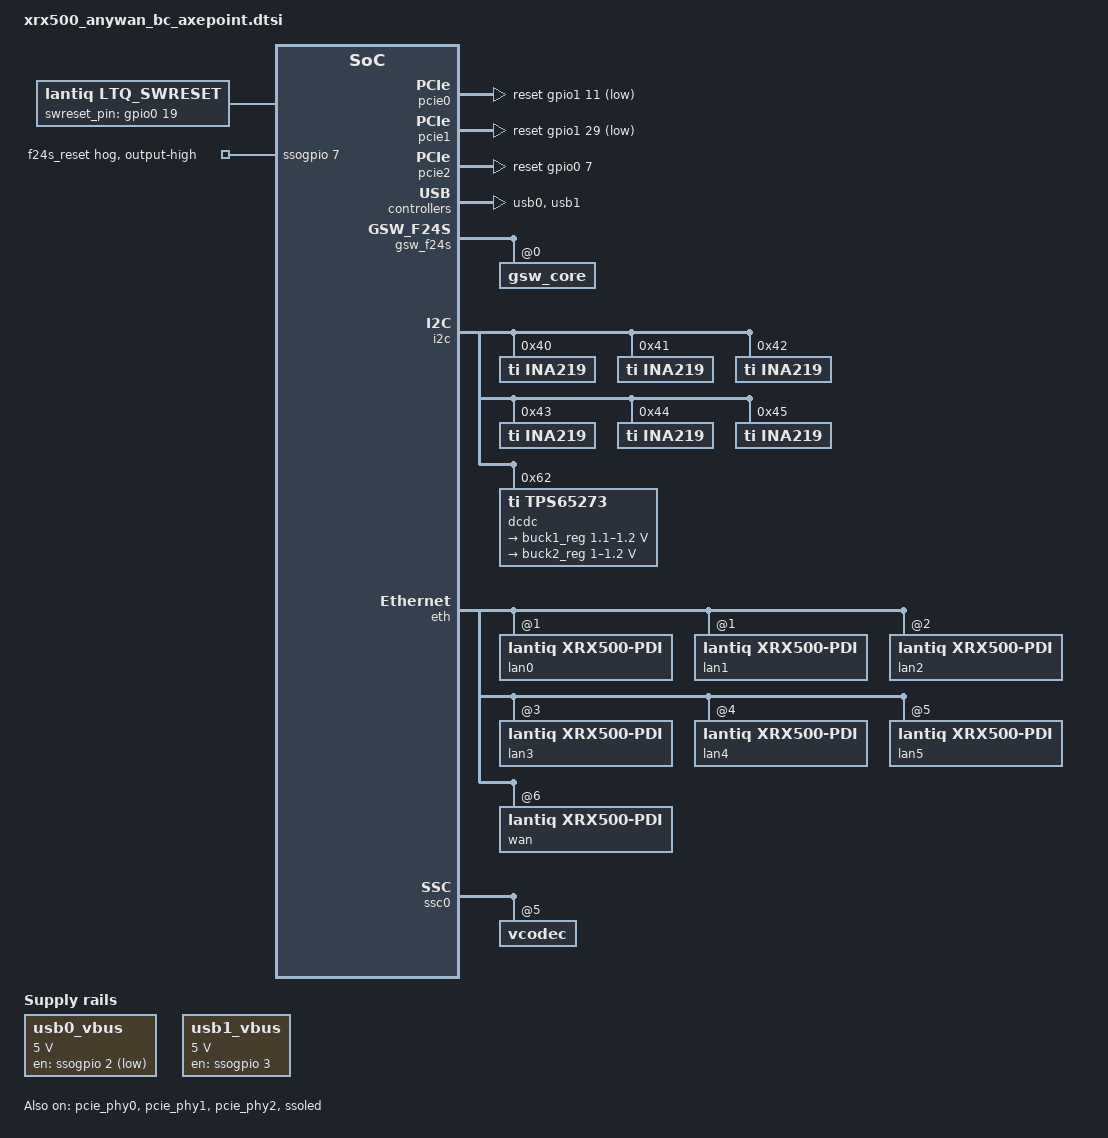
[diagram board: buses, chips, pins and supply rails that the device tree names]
#include <dt-bindings/gpio/gpio.h>
/******************************************************************************
** Board configuration: xRX500 ANYWAN Board
******************************************************************************/
/ {

/******************************************************************************
** Board configuration: Enable buttons on the board.  
******************************************************************************/
	ltq_swreset {
	      compatible = "lantiq,ltq_swreset";
	      swreset_pin = <&gpio0 19 0>;
	      swreset_bit = <1>;
	      status = "ok";
	};
/*****************************************************************************/
};

/******************************************************************************
** Board configuration: Enable spi0 configuration.
******************************************************************************/

/******************************************************************************
** PCIe PHY board configuration
******************************************************************************/
&pcie_phy0 {
	status = "ok";
	intel,ssc_enable = <1>;
};

&pcie_phy1 {
	status = "ok";
	intel,ssc_enable = <1>;
};

&pcie_phy2 {
	status = "ok";
	intel,ssc_enable = <1>;
};

/******************************************************************************
** Board configuration: Enable PCIe board configuration.
** PCIE sub-system feature configuration, the pcie0/1/2 are defined in Soc level  
******************************************************************************/
&pcie0 {
	status = "ok";
	intel,rst-high-active = <0>; /* 0 - low activ, 1 -- high active */
	intel,rst-interval = <200>; /* in mili-seconds, up to 500 ms*/
	intel,inbound-swap = <1>; /* 0 -- no swap, 1 -- swap */
	intel,outbound-swap = <0>; /* 0 -- no swap, 1 -- swap */
	intel,phy-mode = <5>; /* 0 -36Mhz, 1 - 36MHzSSC, 2 - 25Mhz, 3 - 25MHzSSC, 4 - 100MHz, 5 - 100MHz SSC */
	reset-gpios = <&gpio1 11 GPIO_ACTIVE_LOW>; // default value , it can be updated on board. 
};

&pcie1 {
	status = "ok";
	intel,rst-high-active = <0>; /* 0 - low activ, 1 -- high active */
	intel,rst-interval = <200>; /* in mili-seconds, up to 500 ms*/
	intel,inbound-swap = <1>; /* 0 -- no swap, 1 -- swap */
	intel,outbound-swap = <0>; /* 0 -- no swap, 1 -- swap */
	intel,phy-mode = <5>; /* 0 -36Mhz, 1 - 36MHzSSC, 2 - 25Mhz, 3 - 25MHzSSC, 4 - 100MHz, 5 - 100MHz SSC */
	reset-gpios = <&gpio1 29 GPIO_ACTIVE_LOW>;// default value , it can be updated on board. 
};

&pcie2 {
	status = "ok";
	intel,rst-high-active = <1>; /* 0 - low activ, 1 -- high active */
	intel,rst-interval = <200>; /* in mili-seconds, up to 500 ms*/
	intel,inbound-swap = <1>; /* 0 -- no swap, 1 -- swap */
	intel,outbound-swap = <0>; /* 0 -- no swap, 1 -- swap */
	intel,phy-mode = <5>; /* 0 -36Mhz, 1 - 36MHzSSC, 2 - 25Mhz, 3 - 25MHzSSC, 4 - 100MHz, 5 - 100MHz SSC */
	reset-gpios = <&gpio0 7 GPIO_ACTIVE_HIGH>;// default value , it can be updated on board. 
};

/******************************************************************************
** Board configuration: Enable USB board configuration.  
******************************************************************************/
/********** 
AxePoint use SSO GPIO as vbus power control , the USB A use sso gpio pin2 ,default shall be pulled low.
and USB C use sso gpio pin3 , default shall be pulled high.
 **********/
/ {
	usb0_vbus:regulator-vbus@0 {
		compatible = "regulator-fixed";
		regulator-name = "usb0_vbus";
		regulator-min-microvolt = <5000000>;
		regulator-max-microvolt = <5000000>;
		gpio = <&ssogpio 2 0>;
		enable-active-low;
	};

	usb1_vbus:regulator-vbus@1 {
		compatible = "regulator-fixed";
		regulator-name = "usb1_vbus";
		regulator-min-microvolt = <5000000>;
		regulator-max-microvolt = <5000000>;
		gpio = <&ssogpio 3 0>;
		enable-active-high;
	};
};

&pinctrl_usb0_default {
	intel,pins = <10>;
};

&pinctrl_usb0_idle {
	intel,pins = <10>;
};

&pinctrl_usb1_default {
	intel,pins = <11>;
};

&pinctrl_usb1_idle {
	intel,pins = <11>;
};

&usb0_phy {
	vbus-supply = <&usb0_vbus>;
};

&usb0 {
	status = "ok";
};

&usb1_phy {
	vbus-supply = <&usb1_vbus>;
};

&usb1 {
	status = "ok";
};

/******************************************************************************
 ** Board configuration: The Configuration of the external F24S switch for Port Tunk and SFP support
 ******************************************************************************/

&gsw_f24s {
	status = "okay";
	gsw_core@0 {
		intel,syscon = <&sysconf>;
	};
};

/******************************************************************************
 ** Board configuration: Enable pinctrl board configuration.
 ******************************************************************************/
&pinctrl {
	pinctrl_spi0_cs1: spi0_cs1 {
		intel,pins =  <15>; /* SPI0_CS1 */
		intel,function = "spi0_cs1";
		intel,mux = <EQBR_MUX_1>;
		intel,groups = "spi0_cs1";
	};

	pinctrl_spi1_cs0: spi1_cs0 {
		intel,pins =  <14>; /* SPI1_CS0 */
		intel,function = "spi1_cs0";
		intel,mux = <EQBR_MUX_2>;
		intel,groups = "spi1_cs0";
	};
};
/******************************************************************************
** Board configuration: pin  number definition.  
******************************************************************************/

&pinctrl_reserved {
	intel,pins =  <24>, /* nand cle */ <13>, /*nand ale */
		<49>, /* nand rd */ <48>, /* nand rdy> */
		<51>, /* nand d0 */ <50>, /* nand d1> */
		<52>, /* nand d2 */ <57>, /* nand d3> */
		<56>, /* nand d4 */ <55>, /* nand d5> */
		<54>, /* nand d6 */ <53>, /* nand d7> */
		<23>, /* nand cs1 */ <59>, /* nand wr> */
		<60> /* nand wp */;
};


/******************************************************************************
** Board configuration: Enable Shift register LED board configuration.  
******************************************************************************/

&ssogpio {
	status = "okay";
	ngpios = <24>;
	intel,sso-update-rate = <250000>;

	f24s_rst {
		gpio-hog;
		gpios = <7 GPIO_ACTIVE_HIGH>;
		output-high;
		line-name = "f24s_reset";
	};
};

&ssoled {
	status = "okay";
	/* led definition */

	intel,sso-def-brightness = <0x80>;
	intel,sso-def-blinkrate = <4>; /* HZ*/
	/* blink rate list: 2, 4, 8, 10, 50K, 100K, 200K, 250K, 1000K */ 
	led0: led0 {
		label = "led0:green:gphy";
		led-gpio = <&ssogpio 0 0>;
		intel,led-pin = <0>;
	};

	led1: led1 {
		label = "led1:green:gphy";
		led-gpio = <&ssogpio 1 0>;
		intel,led-pin = <1>;
	};

	led4: led4 {
		label = "led4:green:gphy";
		led-gpio = <&ssogpio 4 0>;
		intel,led-pin = <4>;
	};

	led5: led5 {
		label = "led5:green:dect";
		led-gpio = <&ssogpio 5 0>;
		intel,led-pin = <5>;
	};

	led6: led6 {
		label = "led6:green:wifi5g";
		led-gpio = <&ssogpio 6 0>;
		intel,led-pin = <6>;
	};

	led8: led8 {
		label = "led8:green:voip0";
		led-gpio = <&ssogpio 8 0>;
		intel,led-pin = <8>;
	};

	led9: led9 {
		label = "led9:green:lte";
		led-gpio = <&ssogpio 9 0>;
		intel,led-pin = <9>;
	};

	led10: led10 {
		label = "led10:green:wifi2g";
		led-gpio = <&ssogpio 10 0>;
		intel,led-pin = <10>;
	};

	led11: led11 {
		label = "led11:green:Internet";
		led-gpio = <&ssogpio 11 0>;
		intel,led-pin = <11>;
	};

	wifi_disable_0: wifi_disable_0 {
		label = "wifi0:green";
		led-gpio = <&ssogpio 12 0>;
		intel,led-pin = <12>;
		intel,sso-brightness = <0x00>;
	};

	led13: led13 {
		label = "led13:red:power";
		led-gpio = <&ssogpio 13 0>;
		intel,led-pin = <13>;
		intel,sso-brightness = <0x00>;
	};

	led14: led14 {
		label = "led14:blue:power";
		led-gpio = <&ssogpio 14 0>;
		intel,led-pin = <14>;
		intel,sso-brightness = <0x00>;
	};

	led15: led15 {
		label = "led15:green:power";
		led-gpio = <&ssogpio 15 0>;
		intel,led-pin = <15>;
		intel,sso-brightness = <0x00>;
	};

	wifi_disable_1: wifi_disable_1 {
		label = "wifi1:green";
		led-gpio = <&ssogpio 16 0>;
		intel,led-pin = <16>;
		intel,sso-brightness = <0x00>;
	};

	wifi_disable_2: wifi_disable_2 {
		label = "wifi2:green";
		led-gpio = <&ssogpio 17 0>;
		intel,led-pin = <17>;
		intel,sso-brightness = <0x00>;
	};

	led18: led18 {
		label = "led18:green:24g_act_led";
		led-gpio = <&ssogpio 18 0>;
		intel,led-pin = <18>;
		intel,sso-brightness = <0x0>;
	};

	led19: led19 {
		label = "led19:green:5gl_led";
		led-gpio = <&ssogpio 19 0>;
		intel,led-pin = <19>;
		intel,sso-brightness = <0x0>;
	};

	led20: led20 {
		label = "led20:green:5gh_led";
		led-gpio = <&ssogpio 20 0>;
		intel,led-pin = <20>;
		intel,sso-brightness = <0x0>;
	};

	led21: led21 {
		label = "led21:green:lan_act_led";
		led-gpio = <&ssogpio 21 0>;
		intel,led-pin = <21>;
		intel,sso-brightness = <0x0>;
	};

	led22: led22 {
		label = "led22:green:wan_status_led";
		led-gpio = <&ssogpio 22 0>;
		intel,led-pin = <22>;
		intel,sso-brightness = <0x0>;
	};
	
	led23: led23 {
		label = "led23:green:power_led";
		led-gpio = <&ssogpio 23 0>;
		intel,led-pin = <23>;
		linux,default-trigger = "timer";
		intel,sso-brightness = <0x255>;
	};
};

/******************************************************************************
** Board configuration: Enable CoC power managment board feature  
******************************************************************************/
&pinctrl_i2c0 {
			status="ok";
};

&cpu0 {
	cpu-supply = <&buck1_reg>;
};

&i2c {
	status = "ok";
	ina219@40 {
		compatible = "ti,ina219";
		reg = <0x40>;
		shunt-resistor = <10000>;
		config = <0x01FF>;
		calibration = <0x0F80>;
		rail-name = "PWR_12V";
		};

	ina219@41 {
		compatible = "ti,ina219";
		reg = <0x41>;
		shunt-resistor = <10000>;
		config = <0x01FF>;
		calibration = <0x0EE5>;
		rail-name = "3V3";
		};

	ina219@42 {
		compatible = "ti,ina219";
		reg = <0x42>;
		shunt-resistor = <10000>;
		config = <0x01FF>;
		calibration = <0x0EE5>;
		rail-name = "1V0_WAN";
		};

	ina219@43 {
		compatible = "ti,ina219";
		reg = <0x43>;
		shunt-resistor = <10000>;
		config = <0x01FF>;
		calibration = <0x0EE5>;
		rail-name = "1V1_WAN";
		};

	ina219@44 {
		compatible = "ti,ina219";
		reg = <0x44>;
		shunt-resistor = <10000>;
		config = <0x01FF>;
		calibration = <0x0EE5>;
		rail-name = "1V5_CON1_2";
		};

	ina219@45 {
		compatible = "ti,ina219";
		reg = <0x45>;
		shunt-resistor = <10000>;
		config = <0x01FF>;
		calibration = <0x0EE5>;
		rail-name = "3V3_CON1_2";
		};

	dcdc:tps65273@62 {
		status = "ok";
		compatible = "ti,tps65273";
		reg = <0x62>;

		regulators {
			buck1_reg: BUCK1 {
				regulator-name = "1V15VDD";
				regulator-always-on;
				regulator-boot-on;
				regulator-min-microvolt = <1100000>;
				regulator-max-microvolt = <1200000>;
				regulator-microvolt-offset = <0>;
				vout-slew-rate = <0>;
				vout-psm-mode  = <0>;
				vout-init-selector = <47>; /*0x2F - 1150000 uV*/
			};

			buck2_reg: BUCK2 {
				regulator-name = "1V15VDD-shared";
				regulator-always-on;
				regulator-boot-on;
				regulator-min-microvolt = <1000000>;
				regulator-max-microvolt = <1200000>;
				regulator-microvolt-offset = <0>;
				vout-slew-rate = <0>; 
				vout-psm-mode  = <0>;
				vout-init-selector = <47>; /*0x2F - 1150000 uV*/
			};
		};
	};
};

/******************************************************************************
** Board configuration: Configure LAN/WAN interfaces  
******************************************************************************/
&eth {
	status = "ok";

	lan0: interface@0 {
		compatible = "lantiq,xrx500-pdi";
		#address-cells = <1>;
		#size-cells = <0>;
		reg = <1>;
		intel,dp-dev-port = <1>;
		intel,dp-port-id = <1>;

		ethernet@1 {
			compatible = "lantiq,xrx500-pdi-port";
			reg = <1>;
			phy-mode = "rgmii";
		};
	};

	lan1: interface@1 {
		compatible = "lantiq,xrx500-pdi";
		#address-cells = <1>;
		#size-cells = <0>;
		reg = <1>;
		intel,dp-dev-port = <2>;
		intel,dp-port-id = <2>;

		ethernet@1 {
			compatible = "lantiq,xrx500-pdi-port";
			reg = <2>;
			interrupt-parent = <&gic>;
			interrupts = <0 112 4>;
			phy-mode = "rgmii";
			phy-handle = <&phy2>;
		};
	};

	lan2: interface@2 {
		compatible = "lantiq,xrx500-pdi";
		#address-cells = <1>;
		#size-cells = <0>;
		reg = <2>;
		intel,dp-dev-port = <3>;
		intel,dp-port-id = <3>;

		ethernet@2 {
			compatible = "lantiq,xrx500-pdi-port";
			reg = <3>;
			interrupt-parent = <&gic>;
			interrupts = <0 113 4>;
			phy-mode = "rgmii";
			phy-handle = <&phy3>;
		};
	};

	lan3: interface@3 {
		compatible = "lantiq,xrx500-pdi";
		#address-cells = <1>;
		#size-cells = <0>;
		reg = <3>;
		intel,dp-dev-port = <4>;
		intel,dp-port-id = <4>;

		ethernet@3 {
			compatible = "lantiq,xrx500-pdi-port";
			reg = <4>;
			interrupt-parent = <&gic>;
			interrupts = <0 126 4>;
			phy-mode = "rgmii";
			phy-handle = <&phy4>;
		};
	};

	lan4: interface@4 {
		compatible = "lantiq,xrx500-pdi";
		#address-cells = <1>;
		#size-cells = <0>;
		reg = <4>;
		intel,dp-dev-port = <5>;
		intel,dp-port-id = <5>;

		ethernet@4 {
			compatible = "lantiq,xrx500-pdi-port";
			reg = <5>;
			interrupt-parent = <&gic>;
			interrupts = <0 127 4>;
			phy-mode = "rgmii";
			phy-handle = <&phy5>;
		};
	};

	lan5: interface@5 {
		compatible = "lantiq,xrx500-pdi";
		#address-cells = <1>;
		#size-cells = <0>;
		reg = <5>;
		intel,dp-dev-port = <6>;
		intel,dp-port-id = <6>;

		ethernet@4 {
			compatible = "lantiq,xrx500-pdi-port";
			reg = <7>;
			interrupt-parent = <&gic>;
			interrupts = <0 111 4>;
			phy-mode = "rgmii";
			phy-handle = <&phy6>;
		};
	};

	wan: interface@6 {
		compatible = "lantiq,xrx500-pdi";
		#address-cells = <1>;
		#size-cells = <0>;
		reg = <6>;
		lantiq,wan = <1>;
		intel,dp-dev-port = <15>;
		intel,dp-port-id = <15>;

		ethernet@6 {
			compatible = "lantiq,xrx500-pdi-port";
			reg = <1>;
			interrupt-parent = <&gic>;
			interrupts = <0 111 4>;
			phy-mode = "rgmii";
			phy-handle = <&phy1>;
		};
	};
};
/******************************************************************************
** Board configuration: Configure SLIC220 Voice configuration  
******************************************************************************/
&ssc0 {			
	vcodec@5 {				
		slic: slic@0 {
			compatible = "lantiq,slic200";
			dcdc_type = "CIFB";
		};
	};
};

